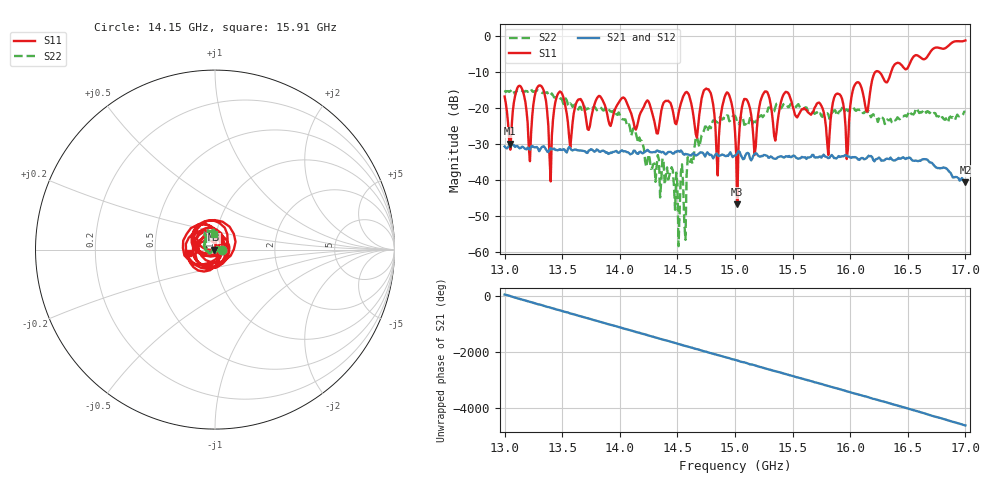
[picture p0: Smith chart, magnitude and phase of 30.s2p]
!Keysight Technologies,P9374A,MY57211807,A.19.30.04
!Date: Friday, May 01, 2026 14:49:58
!Correction: S11(C  2-Port  )
!S21(C  2-Port  )
!S12(C  2-Port  )
!S22(C  2-Port  )
!S2P File: Measurements: S11, S21, S12, S22:
# Hz S  RI  R 50
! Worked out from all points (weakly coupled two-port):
!   401 points, 13 GHz to 17 GHz, reference 50 ohm
!   highest |S21| = -30.00 dB at 13.05 GHz (marker M1); lowest = -40.8 dB at 17 GHz (marker M2)
!   lowest |S11| = -46.9 dB at 15.02 GHz (marker M3), VSWR 1.01, Z = 49.6 - j0.0782 ohm
!   |S11| at or under -10 dB: start of sweep to 16.22 GHz; 16.25 GHz to 16.36 GHz (109.6 MHz wide, 0.672 % of centre)
!   |S22| runs from -58.5 to -14.9 dB; largest |S21 - S12| = 0.00091
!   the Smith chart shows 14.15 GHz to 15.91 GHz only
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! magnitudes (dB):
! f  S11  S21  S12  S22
! 13 GHz  -16.9  -30.8  -30.7  -15.2
! 13.05 GHz  -31.7  -30.0  -30.0  -15.4
! 13.13 GHz  -13.9  -31.3  -31.3  -15.1
! 13.22 GHz  -34.9  -31.7  -31.5  -14.9
! 13.33 GHz  -14.6  -30.8  -30.7  -16.0
! 13.4 GHz  -40.5  -31.3  -31.3  -16.5
! 13.47 GHz  -15.8  -31.7  -31.7  -17.1
! 13.67 GHz  -18.1  -31.9  -32.0  -20.6
! 14.34 GHz  -25.4  -32.2  -32.1  -34.5
! 14.5 GHz  -23.4  -32.0  -32.1  -41.3
! 14.76 GHz  -14.9  -32.4  -32.5  -26.6
! 14.95 GHz  -16.6  -32.8  -32.9  -23.8
! 15 GHz  -26.5  -33.3  -33.2  -22.3
! 15.02 GHz  -46.9  -32.7  -32.7  -24.2
! 15.09 GHz  -17.6  -33.3  -33.3  -24.6
! 15.17 GHz  -33.2  -32.9  -32.9  -23.9
! 15.26 GHz  -15.5  -33.2  -33.1  -22.0
! 15.67 GHz  -21.5  -33.1  -33.1  -21.4
! 15.97 GHz  -34.3  -33.4  -33.4  -20.5
! 16.05 GHz  -13.2  -33.8  -33.8  -20.9
! 16.34 GHz  -11.7  -34.3  -34.3  -23.5
! 17 GHz  -1.3  -40.8  -40.8  -21.2
